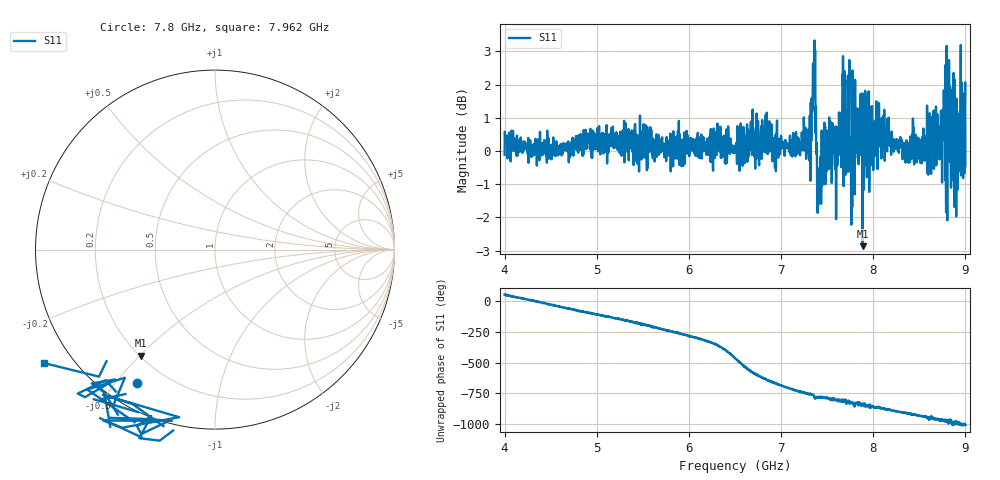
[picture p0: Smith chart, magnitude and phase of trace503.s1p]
! Created with skrf 1.8.0 (http://scikit-rf.org).
# Hz S RI R 50.0
!freq ReS11 ImS11
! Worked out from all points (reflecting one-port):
!   1601 points, 4 GHz to 9 GHz, reference 50 ohm
!   lowest |S11| = -2.9 dB at 7.884 GHz (marker M1), VSWR 6.11, Z = 10.3 - j25.2 ohm
!   phase of S11 starts at 50 deg and turns -1057 deg over the sweep
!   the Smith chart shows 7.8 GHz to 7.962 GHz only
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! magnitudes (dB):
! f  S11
! 4 GHz  -0.1
! 4.625 GHz  -0.1
! 5.25 GHz  -0.1
! 5.875 GHz  -0.2
! 6.5 GHz  0.1
! 6.691 GHz  1.2
! 7.125 GHz  0.2
! 7.294 GHz  0.1
! 7.347 GHz  2.6
! 7.369 GHz  3.0
! 7.397 GHz  -1.9
! 7.412 GHz  -1.6
! 7.512 GHz  0.6
! 7.6 GHz  -0.4
! 7.669 GHz  2.0
! 7.75 GHz  0.3
! 7.769 GHz  -0.9
! 7.8 GHz  -1.3
! 7.884 GHz  -2.9
! 8.375 GHz  -0.3
! 8.444 GHz  -0.4
! 8.581 GHz  -0.3
! 8.631 GHz  0.9
! 8.725 GHz  0.7
! 8.822 GHz  2.7
! 8.875 GHz  0.7
! 8.972 GHz  0.1
! 9 GHz  -0.5
